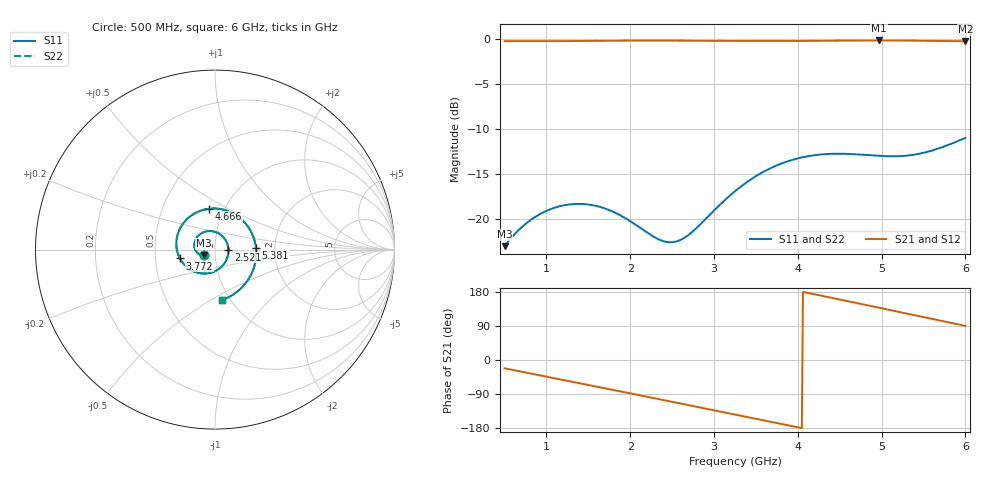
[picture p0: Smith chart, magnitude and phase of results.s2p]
! rfsim (KiCad + openEMS)
# HZ S RI R 50
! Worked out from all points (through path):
!   401 points, 500 MHz to 6 GHz, reference 50 ohm
!   highest |S21| = -0.14 dB at 4.969 GHz (marker M1); lowest = -0.2 dB at 6 GHz (marker M2)
!   group delay of S21, straight-line fit = 125 ps
!   lowest |S11| = -23.0 dB at 500 MHz (marker M3), VSWR 1.15, Z = 44 - j2.82 ohm
!   |S11| at or under -10 dB: start of sweep to end of sweep
!   |S22| runs from -23.0 to -11.0 dB; largest |S21 - S12| = 4.5e-06
!   S11 on the Smith chart (normalised r, x): 500 MHz: 0.88, -0.06; 2.521 GHz: 1.16, +0.00; 3.772 GHz: 0.67, -0.07; 4.666 GHz: 0.84, +0.41; 5.381 GHz: 1.59, +0.04; 6 GHz: 0.92, -0.56
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5e8  -0.0634 -0.0319  0.9043 -0.3649  0.9043 -0.3649  -0.0634 -0.0319
7.2e8  -0.0881 -0.0259  0.8302 -0.511  0.8302 -0.511  -0.0881 -0.0259
9.4e8  -0.1079 -0.00523  0.7329 -0.6426  0.7329 -0.6426  -0.1079 -0.00523
1.42125e9  -0.1013 0.0675  0.4539 -0.865  0.4539 -0.865  -0.1013 0.0675
1.88875e9  -0.0199 0.1029  0.1192 -0.9735  0.1192 -0.9735  -0.0199 0.1029
2.1225e9  0.0292 0.0846  -0.0597 -0.9803  -0.0597 -0.9803  0.0292 0.0846
2.3425e9  0.0635 0.0442  -0.2273 -0.9554  -0.2273 -0.9554  0.0635 0.0442
2.52125e9  0.0749 0.000276  -0.3581 -0.9134  -0.3581 -0.9134  0.0749 0.000276
2.6725e9  0.0704 -0.0392  -0.4627 -0.8639  -0.4627 -0.8639  0.0704 -0.0392
2.865e9  0.0459 -0.0852  -0.5857 -0.7843  -0.5857 -0.7843  0.0459 -0.0852
3.25e9  -0.0521 -0.1335  -0.7906 -0.5754  -0.7906 -0.5754  -0.0521 -0.1335
3.51125e9  -0.1327 -0.1141  -0.8901 -0.4028  -0.8901 -0.4028  -0.1327 -0.1141
3.7725e9  -0.1953 -0.0494  -0.9529 -0.2138  -0.9529 -0.2138  -0.1953 -0.0494
3.97875e9  -0.2153 0.0249  -0.9754 -0.0578  -0.9754 -0.0578  -0.2153 0.0249
4.17125e9  -0.2025 0.1005  -0.974 0.09  -0.974 0.09  -0.2025 0.1005
4.405e9  -0.144 0.1807  -0.9426 0.2684  -0.9426 0.2684  -0.144 0.1807
4.66625e9  -0.0341 0.2275  -0.8683 0.4595  -0.8683 0.4595  -0.0341 0.2275
4.96875e9  0.1115 0.1956  -0.7316 0.6575  -0.7316 0.6575  0.1115 0.1956
5.0925e9  0.1623 0.1544  -0.6615 0.7277  -0.6615 0.7277  0.1623 0.1544
5.38125e9  0.228 0.0115  -0.4722 0.86  -0.4722 0.86  0.228 0.0115
5.67e9  0.1946 -0.1513  -0.2583 0.9428  -0.2583 0.9428  0.1946 -0.1513
6e9  0.0409 -0.2803  -0.000465 0.9737  -0.000465 0.9737  0.0409 -0.2803
